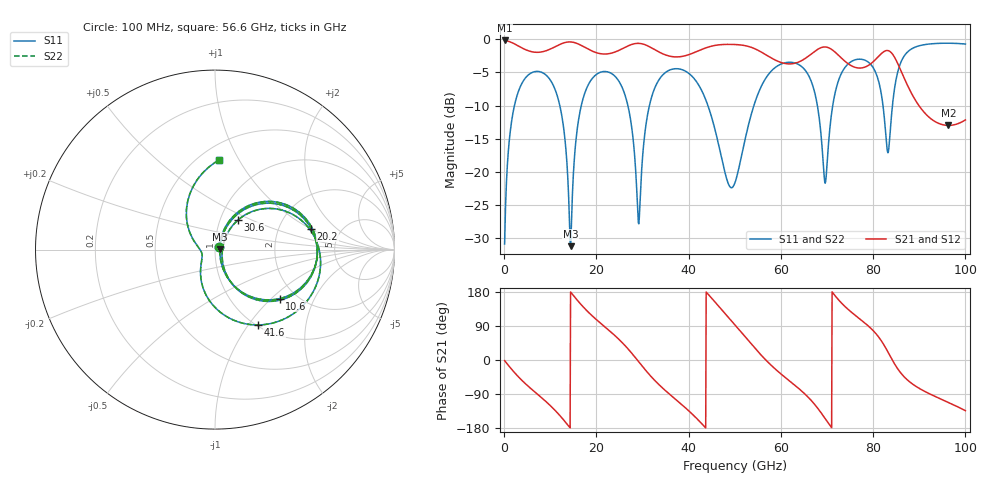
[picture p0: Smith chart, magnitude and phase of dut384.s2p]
! Touchstone file exported from HFSS 2026.1.0
!  File:  C:/ffzhzh/LocalFiles/Ansys_Project_Files/temp_train_TSV_RDL_384_1783716728_45496.aedt
!  Generated:  05:10:37 AM Jul 11, 2026
!  Design:  TSV_RDL
!  Project:  temp_train_TSV_RDL_384_1783716728_45496
! Variables:
!  h_bsmrdl = 3.72um
!  h_ox = 20um
!  h_rdl = 5um
!  h_sub = 95.06um
!  h_tmrdl = 2.9um
!  h_tsv = 95.06um
!  h_via = 3um
!  l_bsmrdl = 462.38um
!  l_sub = 4046.73um
!  l_tmrdl = 537.23um
!  m_sub = 200um
!  pitch = 49.59um
!  r_tsv = 6.87um
!  s_tmrdl = 10um
!  w_bsmrdl = 12.46um
!  w_sub = 500um
!  w_tmrdl = 24.43um
!  x_tsv_center1 = 549.445um
!  x_tsv_center2 = 1024.285um
!  x_tsv_center3 = 1585.945um
!  x_tsv_center4 = 2060.785um
!  x_tsv_center5 = 2622.445um
!  x_tsv_center6 = 3097.285um
# GHz S MA R 50.000000
! Terminal data exported
! Port[1] = TM_RDL1_1_T1
! Port[2] = TM_RDL5_1_T1
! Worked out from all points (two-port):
!   1000 points, 100 MHz to 100 GHz, reference 50 ohm
!   highest |S21| = -0.21 dB at 100 MHz (marker M1); lowest = -13.0 dB at 96.3 GHz (marker M2)
!   |S21| within 3 dB of the highest: start of sweep to 58.91 GHz; 64.59 GHz to 73.67 GHz (9.08 GHz wide, 13.1 % of centre) (the widest 2 of 3)
!   lowest |S11| = -31.2 dB at 14.4 GHz (marker M3), VSWR 1.06, Z = 52.8 + j0.173 ohm
!   |S11| at or under -10 dB: 12.07 GHz to 16.73 GHz (4.66 GHz wide, 32.4 % of centre); 26.82 GHz to 31.5 GHz (4.675 GHz wide, 16 % of centre); 44.17 GHz to 54.15 GHz (9.976 GHz wide, 20.3 % of centre) (the widest 3 of 6)
!   |S22| runs from -31.3 to -0.6 dB; largest |S21 - S12| = 5.9e-14
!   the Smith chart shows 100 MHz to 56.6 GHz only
!   S11 on the Smith chart (normalised r, x): 100 MHz: 1.05, +0.03; 10.6 GHz: 1.65, -1.13; 20.2 GHz: 3.05, +1.02; 30.6 GHz: 1.21, +0.42; 41.6 GHz: 1.02, -1.11; 56.6 GHz: 0.62, +0.83
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0.1  0.02866 34.1  0.9766 -1.6  0.9766 -1.6  0.02866 34.1
! Gamma 0 0 0 0
! Port Impedance 50 0 50 0
3.1  0.4046 41.6  0.8866 -44.5  0.8866 -44.5  0.4046 41.6
10.6  0.4525 -37.1  0.8605 -127.4  0.8605 -127.4  0.4525 -37.1
14.4  0.02761 3.4  0.9519 179.4  0.9519 179.4  0.02708 3.5
16.8  0.3244 49.1  0.8934 144.6  0.8934 144.6  0.3244 49.2
20.2  0.5483 12.3  0.7859 104.4  0.7859 104.4  0.5483 12.4
26.2  0.3796 -48.5  0.8662 38.2  0.8662 38.2  0.3797 -48.4
29.1  0.04133 -17.6  0.9289 -3.6  0.9289 -3.6  0.0425 -17.2
30.6  0.208 52.3  0.9056 -26.0  0.9056 -26.0  0.2082 52.0
33.4  0.4834 23.1  0.8054 -63.0  0.8054 -63.0  0.4835 23.0
41.6  0.4833 -60.3  0.8018 -152.5  0.8018 -152.5  0.4832 -60.3
45.6  0.2158 -108.8  0.8948 154.7  0.8948 154.7  0.2158 -108.7
50.1  0.08407 179.2  0.91 91.7  0.91 91.7  0.08404 179.8
56.6  0.4996 87.4  0.7674 1.6  0.7674 1.6  0.4995 87.5
66.7  0.4686 -12.2  0.7777 -108.4  0.7777 -108.4  0.4688 -11.9
69.6  0.08222 24.0  0.8724 -154.6  0.8724 -154.6  0.08545 24.1
71.3  0.3261 72.4  0.8219 176.6  0.8219 176.6  0.327 71.9
78  0.6979 10.7  0.6117 99.7  0.6117 99.7  0.6979 10.5
83.4  0.1507 36.2  0.8156 17.0  0.8156 17.0  0.1499 36.4
86.5  0.7242 39.1  0.5302 -41.4  0.5302 -41.4  0.7242 39.1
96.3  0.9311 -22.3  0.224 -112.0  0.224 -112.0  0.9311 -22.4
100  0.9177 -42.1  0.2464 -133.7  0.2464 -133.7  0.9178 -42.1
